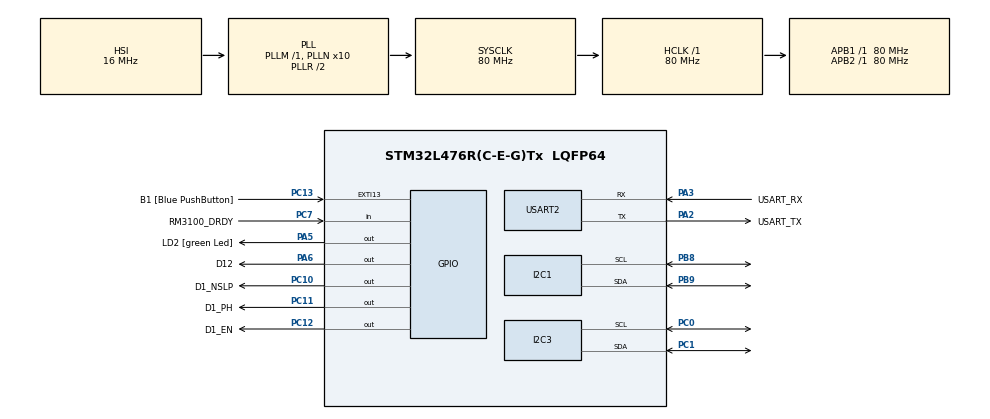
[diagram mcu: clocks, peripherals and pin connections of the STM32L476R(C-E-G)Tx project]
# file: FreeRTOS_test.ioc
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FREERTOS.BinarySemaphores01=i2c1Sem,Dynamic,NULL,Available
FREERTOS.Events01=ControllerStart,Dynamic,NULL;MTQStart,Dynamic,NULL
FREERTOS.Mutexes01=MagneticMutex,Dynamic,NULL,Available
FREERTOS.Queues01=dataLoggerQueue,16,dataLoggerQueue_t,0,Dynamic,NULL,NULL;rmReadingQueue,6,rmReadingQueue_t,0,Dynamic,NULL,NULL;mtqQueue,16,uint16_t,0,Dynamic,NULL,NULL;mlxReadingQueue,6,mlxReadingQueue_t,0,Dynamic,NULL,NULL
FREERTOS.Tasks01=DataLogger,40,256,StartDataLogger,Default,NULL,Dynamic,NULL,NULL;MLXReader,16,1024,StartMLXReader,Default,NULL,Dynamic,NULL,NULL;RM3100Reader,16,512,StartRM3100Reader,Default,NULL,Dynamic,NULL,NULL;MTQDriver,32,256,StartMTQDriver,Default,NULL,Dynamic,NULL,NULL;Controller,24,512,StartController,Default,NULL,Dynamic,NULL,NULL
FREERTOS.configTOTAL_HEAP_SIZE=16000
FREERTOS.configUSE_NEWLIB_REENTRANT=1
I2C1.Timing=0x10D19CE4
I2C3.OwnAddress=0x12
I2C3.Timing=0x10D19CE4
Mcu.Family=STM32L4
Mcu.Name=STM32L476R(C-E-G)Tx
Mcu.Package=LQFP64
Mcu.UserConstants=LOOP_LENGTH_MS,180
NVIC.I2C3_ER_IRQn=true\:5\:0\:false\:false\:true\:true\:true\:true\:true
NVIC.I2C3_EV_IRQn=true\:5\:0\:false\:false\:true\:true\:true\:true\:true
NVIC.PriorityGroup=NVIC_PRIORITYGROUP_4
NVIC.TIM6_DAC_IRQn=true\:15\:0\:false\:false\:true\:false\:false\:true\:true
NVIC.TimeBase=TIM6_DAC_IRQn
NVIC.TimeBaseIP=TIM6
PA13\ (JTMS-SWDIO).GPIO_Label=TMS
PA13\ (JTMS-SWDIO).Mode=Serial_Wire
PA13\ (JTMS-SWDIO).Signal=SYS_JTMS-SWDIO
PA14\ (JTCK-SWCLK).GPIO_Label=TCK
PA14\ (JTCK-SWCLK).Mode=Serial_Wire
PA14\ (JTCK-SWCLK).Signal=SYS_JTCK-SWCLK
PA2.GPIO_Label=USART_TX
PA2.GPIO_Mode=GPIO_MODE_AF_PP
PA2.GPIO_PuPd=GPIO_NOPULL
PA2.GPIO_Speed=GPIO_SPEED_FREQ_VERY_HIGH
PA2.Mode=Asynchronous
PA2.Signal=USART2_TX
PA3.GPIO_Label=USART_RX
PA3.GPIO_Mode=GPIO_MODE_AF_PP
PA3.GPIO_PuPd=GPIO_NOPULL
PA3.GPIO_Speed=GPIO_SPEED_FREQ_VERY_HIGH
PA3.Mode=Asynchronous
PA3.Signal=USART2_RX
PA5.GPIO_Label=LD2 [green Led]
PA5.GPIO_ModeDefaultOutputPP=GPIO_MODE_OUTPUT_PP
PA5.GPIO_PuPd=GPIO_NOPULL
PA5.GPIO_Speed=GPIO_SPEED_FREQ_LOW
PA5.Signal=GPIO_Output
PA6.GPIO_Label=D12
PA6.Signal=GPIO_Output
PB3\ (JTDO-TRACESWO).GPIO_Label=SWO
PB3\ (JTDO-TRACESWO).Signal=SYS_JTDO-SWO
PB8.Mode=I2C
PB8.Signal=I2C1_SCL
PB9.Mode=I2C
PB9.Signal=I2C1_SDA
PC0.Mode=I2C
PC0.Signal=I2C3_SCL
PC1.Mode=I2C
PC1.Signal=I2C3_SDA
PC10.GPIO_Label=D1_NSLP
PC10.GPIO_ModeDefaultOutputPP=GPIO_MODE_OUTPUT_PP
PC10.GPIO_PuPd=GPIO_PULLDOWN
PC10.Signal=GPIO_Output
PC11.GPIO_Label=D1_PH
PC11.GPIO_PuPd=GPIO_PULLDOWN
PC11.Signal=GPIO_Output
PC12.GPIO_Label=D1_EN
PC12.GPIO_PuPd=GPIO_PULLDOWN
PC12.Signal=GPIO_Output
PC13.GPIO_Label=B1 [Blue PushButton]
PC13.GPIO_ModeDefaultEXTI=GPIO_MODE_IT_FALLING
PC13.GPIO_PuPd=GPIO_NOPULL
PC13.Signal=GPXTI13
PC14-OSC32_IN\ (PC14).Mode=LSE-External-Oscillator
PC14-OSC32_IN\ (PC14).Signal=RCC_OSC32_IN
PC15-OSC32_OUT\ (PC15).Mode=LSE-External-Oscillator
PC15-OSC32_OUT\ (PC15).Signal=RCC_OSC32_OUT
PC7.GPIO_Label=RM3100_DRDY
PC7.GPIO_PuPd=GPIO_NOPULL
PC7.Signal=GPIO_Input
PH0-OSC_IN\ (PH0).Signal=RCC_OSC_IN
PH1-OSC_OUT\ (PH1).Signal=RCC_OSC_OUT
ProjectManager.HeapSize=0x200
ProjectManager.StackSize=0x400
ProjectManager.TargetToolchain=STM32CubeIDE
RCC.ADCFreq_Value=64000000
RCC.AHBFreq_Value=80000000
RCC.APB1Freq_Value=80000000
RCC.APB1TimFreq_Value=80000000
RCC.APB2Freq_Value=80000000
RCC.APB2TimFreq_Value=80000000
RCC.CortexFreq_Value=80000000
RCC.HCLKFreq_Value=80000000
RCC.HSE_VALUE=8000000
RCC.HSI_VALUE=16000000
RCC.MSI_VALUE=4000000
RCC.PLLN=10
RCC.PLLSourceVirtual=RCC_PLLSOURCE_HSI
RCC.PREFETCH_ENABLE=1
RCC.SYSCLKFreq_VALUE=80000000
RCC.SYSCLKSource=RCC_SYSCLKSOURCE_PLLCLK
RCC.USBFreq_Value=64000000
RCC.VCOOutputFreq_Value=160000000
USART2.VirtualMode-Asynchronous=VM_ASYNC
VP_FREERTOS_VS_CMSIS_V2.Mode=CMSIS_V2
VP_SYS_VS_tim6.Mode=TIM6
VP_TIM2_VS_ClockSourceINT.Mode=Internal
board=NUCLEO-L476RG

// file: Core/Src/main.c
/* USER CODE BEGIN Header */
/**
  ******************************************************************************
  * @file           : main.c
  * @brief          : Main program body
  ******************************************************************************
  * @attention
  *
  * Copyright (c) 2026 STMicroelectronics.
  * All rights reserved.
  *
  * This software is licensed under terms that can be found in the LICENSE file
  * in the root directory of this software component.
  * If no LICENSE file comes with this software, it is provided AS-IS.
  *
  ******************************************************************************
  */
/* USER CODE END Header */
#include "main.h"
#include "cmsis_os.h"

/* USER CODE BEGIN Includes */
#include <stdio.h>
#include "RM3100.h"
/* USER CODE END Includes */

/* USER CODE BEGIN PTD */

// this struct is the structure of the data sent through the i2cQueue. It has enough into to tell TaskHigh where to put new info in the i2c register
// ONLY WORKS WITH FLOATS!!!
typedef struct {
	uint8_t position;
	float value;
} dataLoggerQueue_t;

// this struct has values put into it only by RM3100Reader. The Controller task reads it.
typedef struct {
	float bX;
	float bY;
	float bZ;
	float timestamp;
} rmReadingQueue_t;

// this struct can only be written to by MLXReader. The Controller task reads it.
typedef struct {
	float roll;
	float pitch;
	float timestamp;
} mlxReadingQueue_t;
/* USER CODE END PTD */

I2C_HandleTypeDef hi2c1;
I2C_HandleTypeDef hi2c3;

TIM_HandleTypeDef htim2;

UART_HandleTypeDef huart2;

/* Definitions for DataLogger */
osThreadId_t DataLoggerHandle;
const osThreadAttr_t DataLogger_attributes = {
  .name = "DataLogger",
  .stack_size = 256 * 4,
  .priority = (osPriority_t) osPriorityHigh,
};
/* Definitions for MLXReader */
osThreadId_t MLXReaderHandle;
const osThreadAttr_t MLXReader_attributes = {
  .name = "MLXReader",
  .stack_size = 1024 * 4,
  .priority = (osPriority_t) osPriorityBelowNormal,
};
/* Definitions for RM3100Reader */
osThreadId_t RM3100ReaderHandle;
const osThreadAttr_t RM3100Reader_attributes = {
  .name = "RM3100Reader",
  .stack_size = 512 * 4,
  .priority = (osPriority_t) osPriorityBelowNormal,
};
/* Definitions for MTQDriver */
osThreadId_t MTQDriverHandle;
const osThreadAttr_t MTQDriver_attributes = {
  .name = "MTQDriver",
  .stack_size = 256 * 4,
  .priority = (osPriority_t) osPriorityAboveNormal,
};
/* Definitions for Controller */
osThreadId_t ControllerHandle;
const osThreadAttr_t Controller_attributes = {
  .name = "Controller",
  .stack_size = 512 * 4,
  .priority = (osPriority_t) osPriorityNormal,
};
/* Definitions for dataLoggerQueue */
osMessageQueueId_t dataLoggerQueueHandle;
const osMessageQueueAttr_t dataLoggerQueue_attributes = {
  .name = "dataLoggerQueue"
};
/* Definitions for rmReadingQueue */
osMessageQueueId_t rmReadingQueueHandle;
const osMessageQueueAttr_t rmReadingQueue_attributes = {
  .name = "rmReadingQueue"
};
/* Definitions for mtqQueue */
osMessageQueueId_t mtqQueueHandle;
const osMessageQueueAttr_t mtqQueue_attributes = {
  .name = "mtqQueue"
};
/* Definitions for mlxReadingQueue */
osMessageQueueId_t mlxReadingQueueHandle;
const osMessageQueueAttr_t mlxReadingQueue_attributes = {
  .name = "mlxReadingQueue"
};
/* Definitions for MagneticMutex */
osMutexId_t MagneticMutexHandle;
const osMutexAttr_t MagneticMutex_attributes = {
  .name = "MagneticMutex"
};
/* Definitions for i2c1Sem */
osSemaphoreId_t i2c1SemHandle;
const osSemaphoreAttr_t i2c1Sem_attributes = {
  .name = "i2c1Sem"
};
/* Definitions for ControllerStart */
osEventFlagsId_t ControllerStartHandle;
const osEventFlagsAttr_t ControllerStart_attributes = {
  .name = "ControllerStart"
};
/* Definitions for MTQStart */
osEventFlagsId_t MTQStartHandle;
const osEventFlagsAttr_t MTQStart_attributes = {
  .name = "MTQStart"
};

void SystemClock_Config(void);
static void MX_GPIO_Init(void);
static void MX_USART2_UART_Init(void);
static void MX_I2C1_Init(void);
static void MX_I2C3_Init(void);
static void MX_TIM2_Init(void);
void StartDataLogger(void *argument);
void StartMLXReader(void *argument);
void StartRM3100Reader(void *argument);
void StartMTQDriver(void *argument);
void StartController(void *argument);

int main(void)
{

  /* MCU Configuration--------------------------------------------------------*/

  /* Reset of all peripherals, Initializes the Flash interface and the Systick. */
  HAL_Init();

  /* Configure the system clock */
  SystemClock_Config();

  /* Initialize all configured peripherals */
  MX_GPIO_Init();
  MX_USART2_UART_Init();
  MX_I2C1_Init();
  MX_I2C3_Init();
  MX_TIM2_Init();
  /* USER CODE BEGIN 2 */
  HAL_I2C_EnableListen_IT(&hi2c3); // enable listening on the I2C3 channel to respond to Moteino requests
  /* USER CODE END 2 */

  /* Init scheduler */
  osKernelInitialize();
  /* Create the mutex(es) */
  /* creation of MagneticMutex */
  MagneticMutexHandle = osMutexNew(&MagneticMutex_attributes);

  /* Create the semaphores(s) */
  /* creation of i2c1Sem */
  i2c1SemHandle = osSemaphoreNew(1, 1, &i2c1Sem_attributes);

  /* Create the queue(s) */
  /* creation of dataLoggerQueue */
  dataLoggerQueueHandle = osMessageQueueNew (16, sizeof(dataLoggerQueue_t), &dataLoggerQueue_attributes);

  /* creation of rmReadingQueue */
  rmReadingQueueHandle = osMessageQueueNew (6, sizeof(rmReadingQueue_t), &rmReadingQueue_attributes);

  /* creation of mtqQueue */
  mtqQueueHandle = osMessageQueueNew (16, sizeof(uint16_t), &mtqQueue_attributes);

  /* creation of mlxReadingQueue */
  mlxReadingQueueHandle = osMessageQueueNew (6, sizeof(mlxReadingQueue_t), &mlxReadingQueue_attributes);

  /* Create the thread(s) */
  /* creation of DataLogger */
  DataLoggerHandle = osThreadNew(StartDataLogger, NULL, &DataLogger_attributes);

  /* creation of MLXReader */
  MLXReaderHandle = osThreadNew(StartMLXReader, NULL, &MLXReader_attributes);

  /* creation of RM3100Reader */
  RM3100ReaderHandle = osThreadNew(StartRM3100Reader, NULL, &RM3100Reader_attributes);

  /* creation of MTQDriver */
  MTQDriverHandle = osThreadNew(StartMTQDriver, NULL, &MTQDriver_attributes);

  /* creation of Controller */
  ControllerHandle = osThreadNew(StartController, NULL, &Controller_attributes);

  /* creation of ControllerStart */
  ControllerStartHandle = osEventFlagsNew(&ControllerStart_attributes);

  /* creation of MTQStart */
  MTQStartHandle = osEventFlagsNew(&MTQStart_attributes);

  /* Start scheduler */
  osKernelStart();

  /* We should never get here as control is now taken by the scheduler */

  /* Infinite loop */
  while (1)
  {

  }
}

void SystemClock_Config(void)
{
  RCC_OscInitTypeDef RCC_OscInitStruct = {0};
  RCC_ClkInitTypeDef RCC_ClkInitStruct = {0};

  /** Configure the main internal regulator output voltage
  */
  if (HAL_PWREx_ControlVoltageScaling(PWR_REGULATOR_VOLTAGE_SCALE1) != HAL_OK)
  {
    Error_Handler();
  }

  /** Initializes the RCC Oscillators according to the specified parameters
  * in the RCC_OscInitTypeDef structure.
  */
  RCC_OscInitStruct.OscillatorType = RCC_OSCILLATORTYPE_HSI;
  RCC_OscInitStruct.HSIState = RCC_HSI_ON;
  RCC_OscInitStruct.HSICalibrationValue = RCC_HSICALIBRATION_DEFAULT;
  RCC_OscInitStruct.PLL.PLLState = RCC_PLL_ON;
  RCC_OscInitStruct.PLL.PLLSource = RCC_PLLSOURCE_HSI;
  RCC_OscInitStruct.PLL.PLLM = 1;
  RCC_OscInitStruct.PLL.PLLN = 10;
  RCC_OscInitStruct.PLL.PLLP = RCC_PLLP_DIV7;
  RCC_OscInitStruct.PLL.PLLQ = RCC_PLLQ_DIV2;
  RCC_OscInitStruct.PLL.PLLR = RCC_PLLR_DIV2;
  if (HAL_RCC_OscConfig(&RCC_OscInitStruct) != HAL_OK)
  {
    Error_Handler();
  }

  /** Initializes the CPU, AHB and APB buses clocks
  */
  RCC_ClkInitStruct.ClockType = RCC_CLOCKTYPE_HCLK|RCC_CLOCKTYPE_SYSCLK
                              |RCC_CLOCKTYPE_PCLK1|RCC_CLOCKTYPE_PCLK2;
  RCC_ClkInitStruct.SYSCLKSource = RCC_SYSCLKSOURCE_PLLCLK;
  RCC_ClkInitStruct.AHBCLKDivider = RCC_SYSCLK_DIV1;
  RCC_ClkInitStruct.APB1CLKDivider = RCC_HCLK_DIV1;
  RCC_ClkInitStruct.APB2CLKDivider = RCC_HCLK_DIV1;

  if (HAL_RCC_ClockConfig(&RCC_ClkInitStruct, FLASH_LATENCY_4) != HAL_OK)
  {
    Error_Handler();
  }
}

static void MX_I2C1_Init(void)
{

  hi2c1.Instance = I2C1;
  hi2c1.Init.Timing = 0x10D19CE4;
  hi2c1.Init.OwnAddress1 = 0;
  hi2c1.Init.AddressingMode = I2C_ADDRESSINGMODE_7BIT;
  hi2c1.Init.DualAddressMode = I2C_DUALADDRESS_DISABLE;
  hi2c1.Init.OwnAddress2 = 0;
  hi2c1.Init.OwnAddress2Masks = I2C_OA2_NOMASK;
  hi2c1.Init.GeneralCallMode = I2C_GENERALCALL_DISABLE;
  hi2c1.Init.NoStretchMode = I2C_NOSTRETCH_DISABLE;
  if (HAL_I2C_Init(&hi2c1) != HAL_OK)
  {
    Error_Handler();
  }

  /** Configure Analogue filter
  */
  if (HAL_I2CEx_ConfigAnalogFilter(&hi2c1, I2C_ANALOGFILTER_ENABLE) != HAL_OK)
  {
    Error_Handler();
  }

  /** Configure Digital filter
  */
  if (HAL_I2CEx_ConfigDigitalFilter(&hi2c1, 0) != HAL_OK)
  {
    Error_Handler();
  }

}

static void MX_I2C3_Init(void)
{

  hi2c3.Instance = I2C3;
  hi2c3.Init.Timing = 0x10D19CE4;
  hi2c3.Init.OwnAddress1 = 36;
  hi2c3.Init.AddressingMode = I2C_ADDRESSINGMODE_7BIT;
  hi2c3.Init.DualAddressMode = I2C_DUALADDRESS_DISABLE;
  hi2c3.Init.OwnAddress2 = 0;
  hi2c3.Init.OwnAddress2Masks = I2C_OA2_NOMASK;
  hi2c3.Init.GeneralCallMode = I2C_GENERALCALL_DISABLE;
  hi2c3.Init.NoStretchMode = I2C_NOSTRETCH_DISABLE;
  if (HAL_I2C_Init(&hi2c3) != HAL_OK)
  {
    Error_Handler();
  }

  /** Configure Analogue filter
  */
  if (HAL_I2CEx_ConfigAnalogFilter(&hi2c3, I2C_ANALOGFILTER_ENABLE) != HAL_OK)
  {
    Error_Handler();
  }

  /** Configure Digital filter
  */
  if (HAL_I2CEx_ConfigDigitalFilter(&hi2c3, 0) != HAL_OK)
  {
    Error_Handler();
  }

}

static void MX_TIM2_Init(void)
{

  TIM_ClockConfigTypeDef sClockSourceConfig = {0};
  TIM_MasterConfigTypeDef sMasterConfig = {0};

  htim2.Instance = TIM2;
  htim2.Init.Prescaler = 0;
  htim2.Init.CounterMode = TIM_COUNTERMODE_UP;
  htim2.Init.Period = 4294967295;
  htim2.Init.ClockDivision = TIM_CLOCKDIVISION_DIV1;
  htim2.Init.AutoReloadPreload = TIM_AUTORELOAD_PRELOAD_DISABLE;
  if (HAL_TIM_Base_Init(&htim2) != HAL_OK)
  {
    Error_Handler();
  }
  sClockSourceConfig.ClockSource = TIM_CLOCKSOURCE_INTERNAL;
  if (HAL_TIM_ConfigClockSource(&htim2, &sClockSourceConfig) != HAL_OK)
  {
    Error_Handler();
  }
  sMasterConfig.MasterOutputTrigger = TIM_TRGO_RESET;
  sMasterConfig.MasterSlaveMode = TIM_MASTERSLAVEMODE_DISABLE;
  if (HAL_TIMEx_MasterConfigSynchronization(&htim2, &sMasterConfig) != HAL_OK)
  {
    Error_Handler();
  }

}

static void MX_USART2_UART_Init(void)
{

  huart2.Instance = USART2;
  huart2.Init.BaudRate = 115200;
  huart2.Init.WordLength = UART_WORDLENGTH_8B;
  huart2.Init.StopBits = UART_STOPBITS_1;
  huart2.Init.Parity = UART_PARITY_NONE;
  huart2.Init.Mode = UART_MODE_TX_RX;
  huart2.Init.HwFlowCtl = UART_HWCONTROL_NONE;
  huart2.Init.OverSampling = UART_OVERSAMPLING_16;
  huart2.Init.OneBitSampling = UART_ONE_BIT_SAMPLE_DISABLE;
  huart2.AdvancedInit.AdvFeatureInit = UART_ADVFEATURE_NO_INIT;
  if (HAL_UART_Init(&huart2) != HAL_OK)
  {
    Error_Handler();
  }

}

static void MX_GPIO_Init(void)
{
  GPIO_InitTypeDef GPIO_InitStruct = {0};

  /* GPIO Ports Clock Enable */
  __HAL_RCC_GPIOC_CLK_ENABLE();
  __HAL_RCC_GPIOH_CLK_ENABLE();
  __HAL_RCC_GPIOA_CLK_ENABLE();
  __HAL_RCC_GPIOB_CLK_ENABLE();

  /*Configure GPIO pin Output Level */
  HAL_GPIO_WritePin(GPIOA, LD2_Pin|D12_Pin, GPIO_PIN_RESET);

  /*Configure GPIO pin Output Level */
  HAL_GPIO_WritePin(GPIOC, D1_NSLP_Pin|D1_PH_Pin|D1_EN_Pin, GPIO_PIN_RESET);

  /*Configure GPIO pin : B1_Pin */
  GPIO_InitStruct.Pin = B1_Pin;
  GPIO_InitStruct.Mode = GPIO_MODE_IT_FALLING;
  GPIO_InitStruct.Pull = GPIO_NOPULL;
  HAL_GPIO_Init(B1_GPIO_Port, &GPIO_InitStruct);

  /*Configure GPIO pins : LD2_Pin D12_Pin */
  GPIO_InitStruct.Pin = LD2_Pin|D12_Pin;
  GPIO_InitStruct.Mode = GPIO_MODE_OUTPUT_PP;
  GPIO_InitStruct.Pull = GPIO_NOPULL;
  GPIO_InitStruct.Speed = GPIO_SPEED_FREQ_LOW;
  HAL_GPIO_Init(GPIOA, &GPIO_InitStruct);

  /*Configure GPIO pin : RM3100_DRDY_Pin */
  GPIO_InitStruct.Pin = RM3100_DRDY_Pin;
  GPIO_InitStruct.Mode = GPIO_MODE_INPUT;
  GPIO_InitStruct.Pull = GPIO_NOPULL;
  HAL_GPIO_Init(RM3100_DRDY_GPIO_Port, &GPIO_InitStruct);

  /*Configure GPIO pins : D1_NSLP_Pin D1_PH_Pin D1_EN_Pin */
  GPIO_InitStruct.Pin = D1_NSLP_Pin|D1_PH_Pin|D1_EN_Pin;
  GPIO_InitStruct.Mode = GPIO_MODE_OUTPUT_PP;
  GPIO_InitStruct.Pull = GPIO_PULLDOWN;
  GPIO_InitStruct.Speed = GPIO_SPEED_FREQ_LOW;
  HAL_GPIO_Init(GPIOC, &GPIO_InitStruct);

}

/* USER CODE BEGIN 4 */
int __io_putchar(int ch)
{
    HAL_UART_Transmit(&huart2, (uint8_t *)&ch, 1, HAL_MAX_DELAY);
    return ch;
}

/* USER CODE END 4 */

/* USER CODE BEGIN Header_StartDataLogger */
/**
  * @brief  Function implementing the DataLogger thread.
  * @param  argument: Not used
  * @retval None
  *
  * For now, this function only logs whatever data is sent to it into the I2C register,
  * which are meant to be transmitted to the Moteino.
  * Flash memory logging is not yet implemented but one possible implementation is just writing the entire
  * I2C register into the flash memory.
  */
/* USER CODE END Header_StartDataLogger */
void StartDataLogger(void *argument)
{
  /* USER CODE BEGIN 5 */
  uint8_t I2cregisters[I2C_REGISTER_SIZE]; // todo: instead of this, make a struct type in the moteino slave file, make an object here, and change the functions to change the object, not a hard-coded array. i don't like loosely declaring global variables
  dataLoggerQueue_t msg;
  /* Infinite loop */
  for(;;)
  {
	  if(osMessageQueueGet(dataLoggerQueueHandle, &msg, 0, osWaitForever) == osOK) {
		  if(msg.position > I2C_REGISTER_SIZE || msg.position < 0) // make sure that no stupid mistakes were made
		  {
			  printf("Exception: data logger was called to store %f at %d, but maximum address is %d", msg.value, msg.position, I2C_REGISTER_SIZE);
			  while(1); // TODO: DO NOT leave this in for the real thing. it WILL ruin your mission by freezing the ADCS forever. keep it for development ONLY
		  }
		  else
		  {
			  PrepareFloatForI2CSending(&(msg.value), &(msg.position), I2cregisters); //todo: maybe implement global timestamp update each time we update anything?...
			  SetMoteinoTXData(I2cregisters);
		  }
	  }
	  osDelay(5); // give it a little breathing room, but idk this may or may not be a good idea
  }
  /* USER CODE END 5 */
}

/* USER CODE BEGIN Header_StartMLXReader */
/**
* @brief Function implementing the MLXReader thread.
* @param argument: Not used
* @retval None
* Not yet implemented.
*/
/* USER CODE END Header_StartMLXReader */
void StartMLXReader(void *argument)
{
  /* USER CODE BEGIN StartMLXReader */
	  /* Infinite loop */
	  for(;;)
	  {
		osEventFlagsSet(ControllerStartHandle, MLXREADER_EVENT);
		  // do nothing for now, just flash an LED
		HAL_GPIO_TogglePin(D12_GPIO_Port, D12_Pin);
	//	printf("Hello!\n");
	    osDelay(50);
	  }
  /* USER CODE END StartMLXReader */
}

/* USER CODE BEGIN Header_StartRM3100Reader */
/**
* @brief Function implementing the RM3100Reader thread.
* @param argument: Not used
* @retval None
* As of right now, all this task does it is reads the RM3100 values three times, then puts them into the messageQueue to the Controller task
* and logs them too. Although some data processing is left in the task as commented code, this task should not yet take that into account.
*/
/* USER CODE END Header_StartRM3100Reader */
void StartRM3100Reader(void *argument)
{
  /* USER CODE BEGIN StartRM3100Reader */

	// create new magnetometer
	static Magnetometer3Axis magnetometer;
	NewMagnetometer3Axis(&magnetometer, RM3100_DRDY_GPIO_Port, RM3100_DRDY_Pin, RM3100Address);

//	static float currentMagField[3]= {0};
//	static float currentMagFieldDer[3]= {0};
//	static float omega[3] = {0};
//	static float div = 1;

	// the RM3100 needs some attention before it's used (this chunk of code is from ChatGPT)
	uint8_t counts[2] = {0x00, 0xC8}; // 200 cycles
	HAL_I2C_Mem_Write(&hi2c1, (0x21<<1), 0x04, 1, counts, 2, 100); // CCX
	HAL_I2C_Mem_Write(&hi2c1, (0x21<<1), 0x06, 1, counts, 2, 100); // CCY
	HAL_I2C_Mem_Write(&hi2c1, (0x21<<1), 0x08, 1, counts, 2, 100); // CCZ

	// these are variables useful for sending data to the i2c register
	dataLoggerQueue_t bx;
	dataLoggerQueue_t by;
	dataLoggerQueue_t bz;
	dataLoggerQueue_t timestamp;
	bx.position = I2C_BX_POS;
	by.position = I2C_BY_POS;
	bz.position = I2C_BZ_POS;
	timestamp.position = I2C_TIMESTAMP_POS;

	// item to send to the rmReadingQueue
	rmReadingQueue_t reading;
	/* Infinite loop */
	for(;;)
	{
		osMutexAcquire(MagneticMutexHandle, osWaitForever); // get the magnetic mutex before doing anything
		osDelay(10); // give it 10 milliseconds before taking magnetic readings, just in case the MTQs haven't fully turned off yet
	    for(uint8_t i=0;i<RM3100_READINGS_PER_LOOP;i++) {
	      // updating gains and reading the sensor can only be done if the semaphore is acquired (shared with MLXReader)
	      osSemaphoreAcquire(i2c1SemHandle, osWaitForever);
		  RM3100_updateGains(&magnetometer); // maybe could be moved out of the for loop to potentially reduce calculation time
		  RM3100_pollAndReadMagField(&magnetometer, xTaskGetTickCount()/1000.0);
		  osSemaphoreRelease(i2c1SemHandle);

		  // this doesn't require communication on I2C1 so we don't need the semaphore for it
		  RM3100_getMagField(&magnetometer, &(bx.value), &(by.value), &(bz.value));

//		  printf("Tick count: %lu\n", xTaskGetTickCount());

		  // the below is code that was previously used to calculate omega and such. It should now only be used by Controller
		  /*
		  RM3100_getMagFieldDerivative(&magnetometer, &currentMagFieldDer[0], &currentMagFieldDer[1], &currentMagFieldDer[2]);

		  // get omega vector (yes i checked and the cross product is correct, even chatgpt said it's good)
	  	  omega[0] = currentMagField[1] * currentMagFieldDer[2] - currentMagField[2] * currentMagFieldDer[1];
	  	  omega[1] = currentMagField[2] * currentMagFieldDer[0] - currentMagField[0] * currentMagFieldDer[2];
	  	  omega[2] = currentMagField[0] * currentMagFieldDer[1] - currentMagField[1] * currentMagFieldDer[0];

	  	  div = currentMagField[0]*currentMagField[0] + currentMagField[1]*currentMagField[1] + currentMagField[2]*currentMagField[2];
		  if(div == 0) printf("No magnetic field present\n"); else {
			  printf("omega X: %f\n", omega[0]/div);
			  printf("omega Y: %f\n", omega[1]/div);
			  printf("omega Z: %f\n", omega[2]/div);
		  }*/

		  // store the readings
		  reading.bX = bx.value;
		  reading.bY = by.value;
		  reading.bZ = bz.value;
		  reading.timestamp = peekBuffer(&(magnetometer.timeBuffer_), -1);
		  timestamp.value = reading.timestamp;

		  // send the B field to the datalogger
		  osMessageQueuePut(dataLoggerQueueHandle, &bx, 0, 0);
		  osMessageQueuePut(dataLoggerQueueHandle, &by, 0, 0);
		  osMessageQueuePut(dataLoggerQueueHandle, &bz, 0, 0);
		  osMessageQueuePut(dataLoggerQueueHandle, &timestamp, 0, 0);

		  // send the full XYZ reading to the Controller task
		  osMessageQueuePut(rmReadingQueueHandle, &reading, 0, 0);

		  // give it at least 20 milliseconds between measurements
		  osDelay(20);
		}
	  osMutexRelease(MagneticMutexHandle);

	  // basically tell the Controller task that all the data is ready for it to process
	  osEventFlagsSet(ControllerStartHandle, RM3100READER_EVENT);
	  osDelay(LOOP_LENGTH_MS/3);
	}
  /* USER CODE END StartRM3100Reader */
}

void StartMTQDriver(void *argument)
{
  /* USER CODE BEGIN StartMTQDriver */
	uint8_t counter = 0;
	/* Infinite loop */

//	HAL_GPIO_WritePin(D1_NSLP_GPIO_Port, D1_NSLP_Pin, GPIO_PIN_SET);
//	HAL_GPIO_WritePin(D1_PH_GPIO_Port, D1_PH_Pin, GPIO_PIN_RESET);
//	HAL_GPIO_WritePin(D1_EN_GPIO_Port, D1_EN_Pin, GPIO_PIN_RESET);
	for(;;)
	{
	  // wait for the Controller task to let it loose
	  osEventFlagsWait(MTQStartHandle, CONTROLLER_READY_EVENT, osFlagsWaitAll, osWaitForever);
	  osMutexAcquire(MagneticMutexHandle, osWaitForever);
	  counter++;
	  osDelay(LOOP_LENGTH_MS/2);
	  osMutexRelease(MagneticMutexHandle);
	  osDelay(1);
	  // at the end of the loop, before this task goes to sleep, reset the timer to 0
	}
  /* USER CODE END StartMTQDriver */
}

void StartController(void *argument)
{
  /* USER CODE BEGIN StartController */
	/*
	typedef struct {
		float bX;
		float bY;
		float bZ;
		float timestamp;
	} rmReadingQueue_t;

	// this struct can only be written to by MLXReader. The Controller task reads it.
	typedef struct {
		float roll;
		float pitch;
		float timestamp;
	} mlxReadingQueue_t;
	*/

  rmReadingQueue_t RMReadings[3];
  /* Infinite loop */
  for(;;)
  {
	// wait for the RM3100 reader and the MLX reader to be done...
	osEventFlagsWait(ControllerStartHandle, RM3100READER_EVENT | MLXREADER_EVENT, osFlagsWaitAll, osWaitForever);
	printf("\033[H");
	printf("Controller event has fired!\n");
	// extract the RM readings from the queue, remember FIFO
	osMessageQueueGet(rmReadingQueueHandle, &RMReadings[0], 0, 1);
	osMessageQueueGet(rmReadingQueueHandle, &RMReadings[1], 0, 1);
	osMessageQueueGet(rmReadingQueueHandle, &RMReadings[2], 0, 1);

	printf("Get all RMReader values from its queue\nThey are at timestamps: %f, %f, %f\n", RMReadings[0].timestamp, RMReadings[1].timestamp, RMReadings[2].timestamp);
	printf("The time difference in measurements is: %f, %f\n", RMReadings[1].timestamp-RMReadings[0].timestamp, RMReadings[2].timestamp-RMReadings[1].timestamp);
	printf("The readings are:\n");
	for(uint8_t i=0;i<3;i++)
		printf("bX: %f\nbY: %f\nbZ: %f\ntime: %f\n\n", RMReadings[i].bX, RMReadings[i].bY, RMReadings[i].bZ, RMReadings[i].timestamp);

	printf("Free stack of Controller: %lu bytes\n", osThreadGetStackSpace(ControllerHandle));
	printf("Free stack of MLXReader: %lu bytes\n", osThreadGetStackSpace(MLXReaderHandle));
	printf("Free stack of RM3100Reader: %lu bytes\n", osThreadGetStackSpace(RM3100ReaderHandle));
	printf("Free stack of MTQDriver: %lu bytes\n", osThreadGetStackSpace(MTQDriverHandle));
	printf("Free stack of DataLogger: %lu bytes\n", osThreadGetStackSpace(DataLoggerHandle));

    // at the end of the task, set the MTQStart event flag to 1
    osEventFlagsSet(MTQStartHandle, CONTROLLER_READY_EVENT);
    osDelay(1);
  }
  /* USER CODE END StartController */
}

void HAL_TIM_PeriodElapsedCallback(TIM_HandleTypeDef *htim)
{
  if (htim->Instance == TIM6)
  {
    HAL_IncTick();
  }
}

void Error_Handler(void)
{
  __disable_irq();
  while (1)
  {
  }
}
